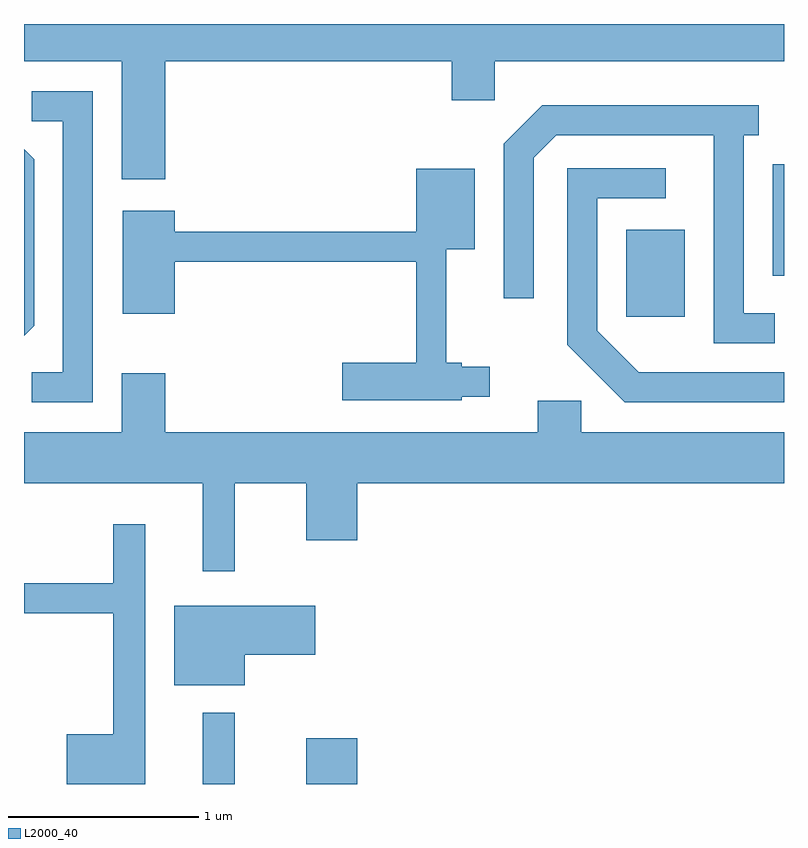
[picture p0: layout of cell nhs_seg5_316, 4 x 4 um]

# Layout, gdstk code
import gdstk
lib = gdstk.Library(unit=1e-6, precision=1e-09)
def R(c, l, rs):  # rectangles x0, y0, x1, y1
    for r in rs: c.add(gdstk.rectangle(r[:2], r[2:], *l))
def P(c, l, *ps):  # polygons
    for p in ps: c.add(gdstk.Polygon(p, *l))
L2000_40 = (2000, 40)

nhs_seg5_316 = lib.new_cell('nhs_seg5_316')
R(nhs_seg5_316, L2000_40, [(194.551,1484.072,194.719,1484.448), (195.096,1484.072,195.364,1484.314), (196.781,1486.531,197.089,1486.989), (197.551,1486.748,197.611,1487.334)])
P(nhs_seg5_316, L2000_40, [(194.354,1487.876),(195.861,1487.876),(195.861,1487.671),(196.089,1487.671),(196.089,1487.876),(197.611,1487.876),(197.611,1488.072),(193.611,1488.072),(193.611,1487.876),(194.126,1487.876),(194.126,1487.256),(194.354,1487.256)],
  [(193.974,1487.719),(193.653,1487.719),(193.653,1487.561),(193.816,1487.561),(193.816,1486.239),(193.653,1486.239),(193.653,1486.081),(193.974,1486.081)],
  [(197.563,1486.549),(197.399,1486.549),(197.399,1487.486),(197.478,1487.486),(197.478,1487.644),(196.339,1487.644),(196.136,1487.442),(196.136,1486.628),(196.294,1486.628),(196.294,1487.369),(196.412,1487.486),(197.241,1487.486),(197.241,1486.391),(197.563,1486.391)],
  [(193.664,1486.484),(193.664,1487.359),(193.611,1487.412),(193.611,1486.431)],
  [(197.611,1486.239),(196.847,1486.239),(196.629,1486.457),(196.629,1487.156),(196.988,1487.156),(196.988,1487.314),(196.471,1487.314),(196.471,1486.384),(196.774,1486.081),(197.611,1486.081)],
  [(195.914,1486.111),(196.063,1486.111),(196.063,1486.269),(195.914,1486.269),(195.914,1486.289),(195.834,1486.289),(195.834,1486.886),(195.984,1486.886),(195.984,1487.309),(195.676,1487.309),(195.676,1486.979),(194.404,1486.979),(194.404,1487.089),(194.131,1487.089),(194.131,1486.546),(194.404,1486.546),(194.404,1486.821),(195.676,1486.821),(195.676,1486.289),(195.286,1486.289),(195.286,1486.091),(195.914,1486.091)],
  [(194.719,1485.656),(195.096,1485.656),(195.096,1485.356),(195.364,1485.356),(195.364,1485.656),(197.611,1485.656),(197.611,1485.924),(196.544,1485.924),(196.544,1486.089),(196.316,1486.089),(196.316,1485.924),(194.354,1485.924),(194.354,1486.234),(194.126,1486.234),(194.126,1485.924),(193.611,1485.924),(193.611,1485.656),(194.551,1485.656),(194.551,1485.193),(194.719,1485.193)],
  [(194.249,1485.438),(194.081,1485.438),(194.081,1485.129),(193.611,1485.129),(193.611,1484.971),(194.081,1484.971),(194.081,1484.334),(193.836,1484.334),(193.836,1484.072),(194.249,1484.072)],
  [(194.774,1484.751),(195.144,1484.751),(195.144,1485.009),(194.401,1485.009),(194.401,1484.591),(194.774,1484.591)])

lib.write_gds('nhs_seg5_316.gds')
